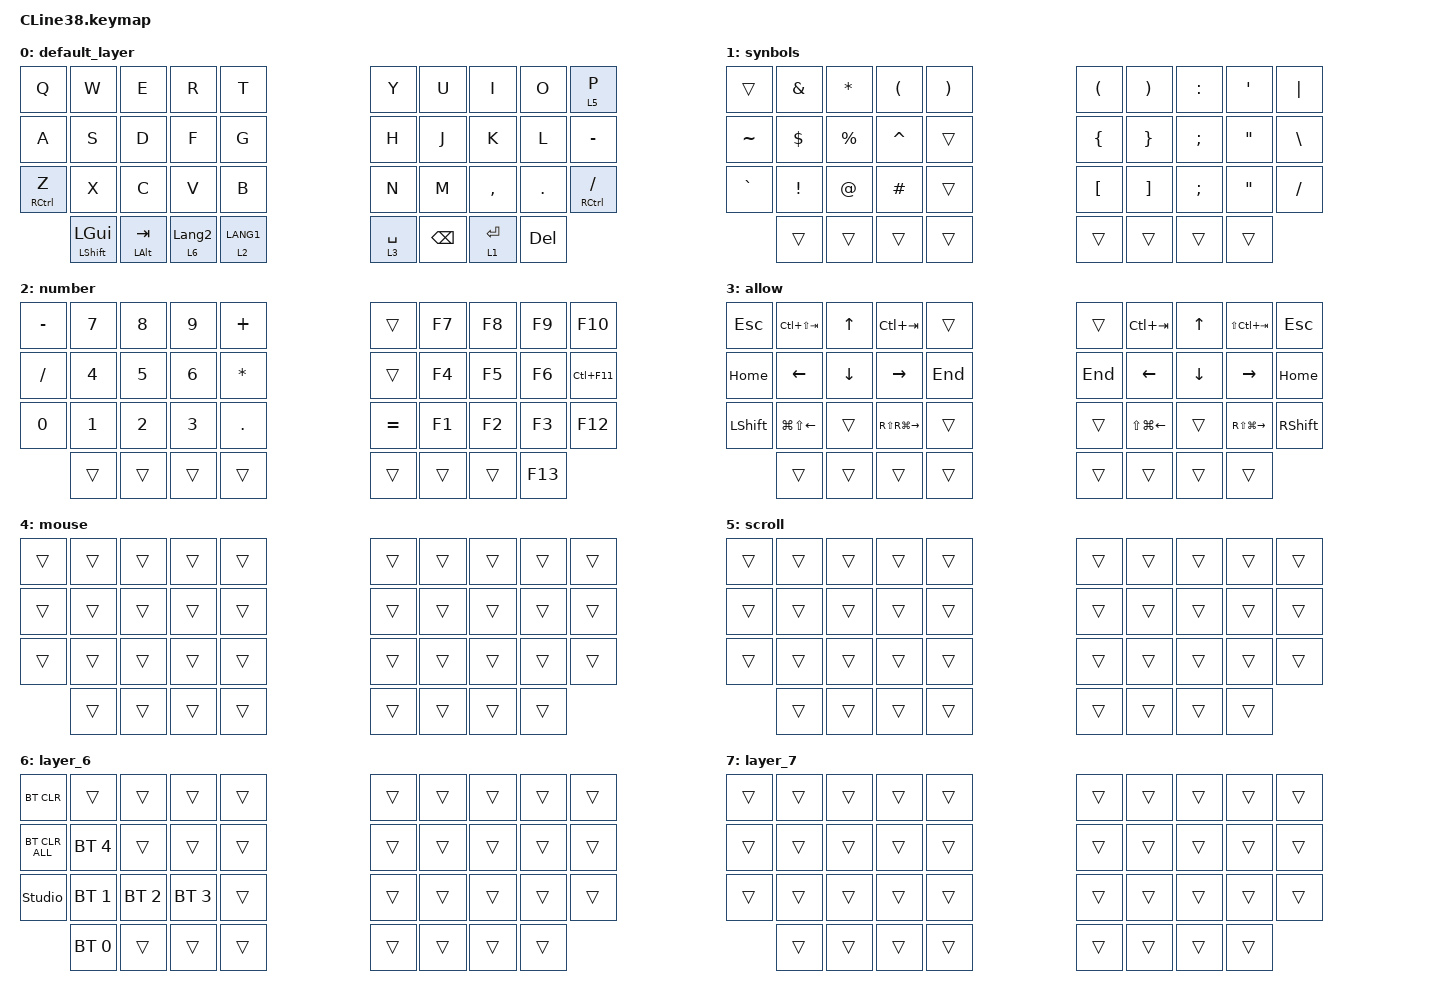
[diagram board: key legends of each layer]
#include <input/processors.dtsi>
#include <dt-bindings/zmk/input_transform.h>
#include <zephyr/dt-bindings/input/input-event-codes.h>
#include <behaviors/runtime_macro.dtsi>
#include <behaviors.dtsi>
#include <dt-bindings/zmk/bt.h>
#include <dt-bindings/zmk/keys.h>
#include <dt-bindings/zmk/pointing.h>

&mt {
    flavor = "balanced";
    quick-tap-ms = <0>;
};

/ {
    combos {
        compatible = "zmk,combos";

        leftclick {
            bindings = <&mkp MB1>;
            key-positions = <17 16>;
        };

        mouseclick {
            bindings = <&mkp MB3>;
            key-positions = <17 16 18>;
        };

        rightclick {
            bindings = <&mkp MB2>;
            key-positions = <17 18>;
        };

        btzero {
            bindings = <&bt BT_SEL 0>;
            key-positions = <0 9>;
        };

        btone {
            bindings = <&bt BT_SEL 1>;
            key-positions = <10 19>;
        };

        bttwo {
            bindings = <&bt BT_SEL 2>;
            key-positions = <20 29>;
        };
    };

    macros {
        to_layer_0: to_layer_0 {
            compatible = "zmk,behavior-macro-one-param";
            #binding-cells = <1>;
            bindings = <&to 0 &macro_param_1to1 &kp MACRO_PLACEHOLDER>;
            label = "TO_LAYER_0";
        };
    };

    behaviors {
        lt_to_layer_0: lt_to_layer_0 {
            compatible = "zmk,behavior-hold-tap";
            label = "LAYER_TAP_TO_0";
            bindings = <&mo>, <&to_layer_0>;

            #binding-cells = <2>;
            tapping-term-ms = <200>;
        };
    };

    keymap {
        compatible = "zmk,keymap";

        default_layer {
            bindings = <
&kp Q        &kp W                    &kp E             &kp R             &kp T                                      &kp Y        &kp U  &kp I      &kp O    &lt 5 P
&kp A        &kp S                    &kp D             &kp F             &kp G                                      &kp H        &kp J  &kp K      &kp L    &kp MINUS
&mt RCTRL Z  &kp X                    &kp C             &kp V             &kp B                                      &kp N        &kp M  &kp COMMA  &kp DOT  &mt RCTRL SLASH
             &mt LEFT_SHIFT LEFT_GUI  &mt LEFT_ALT TAB  &lt 6 LANGUAGE_2  &lt 2 LANG1  &lt 3 SPACE    &kp BACKSPACE  &lt 1 ENTER                    &kp DEL
            >;
        };

        synbols {
            bindings = <
&trans     &kp AMPERSAND  &kp ASTRK    &kp LEFT_PARENTHESIS  &kp RIGHT_PARENTHESIS                    &kp LEFT_PARENTHESIS  &kp RIGHT_PARENTHESIS  &kp COLON      &kp SINGLE_QUOTE   &kp PIPE
&kp TILDE  &kp DOLLAR     &kp PERCENT  &kp CARET             &trans                                   &kp LEFT_BRACE        &kp RIGHT_BRACE        &kp SEMICOLON  &kp DOUBLE_QUOTES  &kp BACKSLASH
&kp GRAVE  &kp EXCL       &kp AT       &kp HASH              &trans                                   &kp LEFT_BRACKET      &kp RIGHT_BRACKET      &kp SEMICOLON  &kp DOUBLE_QUOTES  &kp SLASH
           &trans         &trans       &trans                &trans                 &trans    &trans  &trans                                                      &trans
            >;
        };

        number {
            bindings = <
&kp MINUS     &kp NUMBER_7  &kp NUMBER_8  &kp NUMBER_9  &kp PLUS                      &trans     &kp F7  &kp F8  &kp F9   &kp F10
&kp SLASH     &kp NUMBER_4  &kp NUMBER_5  &kp NUMBER_6  &kp ASTRK                     &trans     &kp F4  &kp F5  &kp F6   &kp LC(F11)
&kp NUMBER_0  &kp NUMBER_1  &kp NUMBER_2  &kp NUMBER_3  &kp PERIOD                    &kp EQUAL  &kp F1  &kp F2  &kp F3   &kp F12
              &trans        &trans        &trans        &trans      &trans    &trans  &trans                     &kp F13
            >;
        };

        allow {
            bindings = <
&kp ESC         &kp LC(LS(TAB))         &kp UP_ARROW  &kp LC(TAB)              &trans                     &trans   &kp LC(TAB)             &kp UP_ARROW  &kp LS(LC(TAB))    &kp ESC
&kp HOME        &kp LEFT                &kp DOWN      &kp RIGHT                &kp END                    &kp END  &kp LEFT                &kp DOWN      &kp RIGHT          &kp HOME
&kp LEFT_SHIFT  &kp LG(LS(LEFT_ARROW))  &trans        &kp RS(RG(RIGHT_ARROW))  &trans                     &trans   &kp LS(LG(LEFT_ARROW))  &trans        &kp RS(LG(RIGHT))  &kp RIGHT_SHIFT
                &trans                  &trans        &trans                   &trans   &trans    &trans  &trans                                         &trans
            >;
        };

        mouse {
            bindings = <
&trans  &trans  &trans  &trans  &trans                    &trans  &trans  &trans  &trans  &trans
&trans  &trans  &trans  &trans  &trans                    &trans  &trans  &trans  &trans  &trans
&trans  &trans  &trans  &trans  &trans                    &trans  &trans  &trans  &trans  &trans
        &trans  &trans  &trans  &trans  &trans    &trans  &trans                  &trans
            >;
        };

        scroll {
            bindings = <
&trans  &trans  &trans  &trans  &trans                    &trans  &trans  &trans  &trans  &trans
&trans  &trans  &trans  &trans  &trans                    &trans  &trans  &trans  &trans  &trans
&trans  &trans  &trans  &trans  &trans                    &trans  &trans  &trans  &trans  &trans
        &trans  &trans  &trans  &trans  &trans    &trans  &trans                  &trans
            >;
        };

        layer_6 {
            bindings = <
&bt BT_CLR      &trans        &trans        &trans        &trans                    &trans  &trans  &trans  &trans  &trans
&bt BT_CLR_ALL  &bt BT_SEL 4  &trans        &trans        &trans                    &trans  &trans  &trans  &trans  &trans
&studio_unlock  &bt BT_SEL 1  &bt BT_SEL 2  &bt BT_SEL 3  &trans                    &trans  &trans  &trans  &trans  &trans
                &bt BT_SEL 0  &trans        &trans        &trans  &trans    &trans  &trans                  &trans
            >;
        };

        layer_7 {
            bindings = <
&trans  &trans  &trans  &trans  &trans                    &trans  &trans  &trans  &trans  &trans
&trans  &trans  &trans  &trans  &trans                    &trans  &trans  &trans  &trans  &trans
&trans  &trans  &trans  &trans  &trans                    &trans  &trans  &trans  &trans  &trans
        &trans  &trans  &trans  &trans  &trans    &trans  &trans                  &trans
            >;
        };
    };
};
